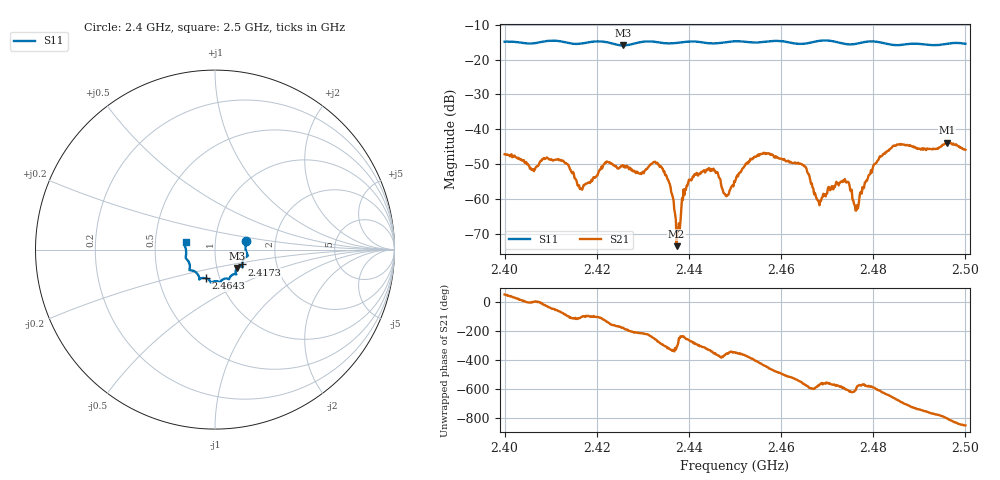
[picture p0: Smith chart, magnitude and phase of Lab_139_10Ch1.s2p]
# Hz S RI R 50
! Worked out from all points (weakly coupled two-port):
!   601 points, 2.4 GHz to 2.5 GHz, reference 50 ohm
!   highest |S21| = -43.83 dB at 2.496 GHz (marker M1); lowest = -73.5 dB at 2.4373 GHz (marker M2)
!   lowest |S11| = -15.9 dB at 2.4257 GHz (marker M3), VSWR 1.38, Z = 62.4 - j13.1 ohm
!   |S11| at or under -10 dB: start of sweep to end of sweep
!   S12 and S22 are empty: the file has one direction only
!   S11 on the Smith chart (normalised r, x): 2.4 GHz: 1.41, +0.14; 2.4173 GHz: 1.34, -0.23; 2.4643 GHz: 0.86, -0.28; 2.5 GHz: 0.72, +0.06
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2.4e9  0.1736 0.0493  0.00262 0.00352  0 0  0 0
2.406e9  0.1705 0.00084  0.00262 8.06e-05  0 0  0 0
2.4125e9  0.1771 -0.0382  0.000972 -0.00343  0 0  0 0
2.416667e9  0.1524 -0.0751  -0.00029 -0.00135  0 0  0 0
2.417333e9  0.1518 -0.0824  -0.000209 -0.00157  0 0  0 0
2.425667e9  0.1225 -0.1025  -0.00293 -0.000186  0 0  0 0
2.433333e9  0.1126 -0.1365  0.000127 0.00312  0 0  0 0
2.435667e9  0.0964 -0.141  0.00133 0.00114  0 0  0 0
2.437333e9  0.0853 -0.1508  0.000139 0.000158  0 0  0 0
2.441333e9  0.0773 -0.1644  0.00058 0.0022  0 0  0 0
2.445667e9  0.0499 -0.1634  0.00252 0.000337  0 0  0 0
2.448e9  0.0351 -0.1739  0.00111 3.82e-05  0 0  0 0
2.45e9  0.0295 -0.1808  0.00172 0.000375  0 0  0 0
2.455833e9  -0.00553 -0.1776  0.00158 -0.00413  0 0  0 0
2.464333e9  -0.0502 -0.1603  -0.00311 0.000706  0 0  0 0
2.466667e9  -0.0763 -0.1594  -0.000927 0.0014  0 0  0 0
2.468333e9  -0.0861 -0.165  -0.0007 0.000417  0 0  0 0
2.474167e9  -0.0987 -0.1342  -0.000719 0.00157  0 0  0 0
2.476333e9  -0.1201 -0.1182  -0.000385 0.000569  0 0  0 0
2.483333e9  -0.1402 -0.0894  0.00112 0.0048  0 0  0 0
2.496e9  -0.1674 0.0197  0.000531 -0.00641  0 0  0 0
2.5e9  -0.1635 0.0417  -0.00353 -0.00367  0 0  0 0
